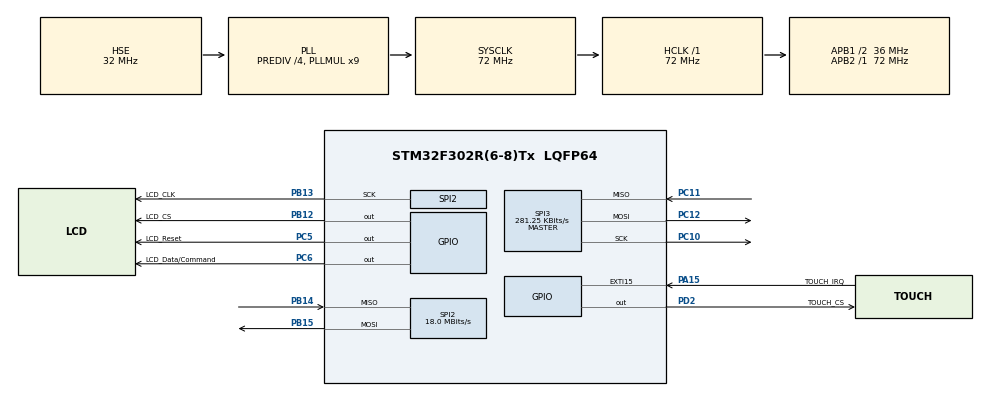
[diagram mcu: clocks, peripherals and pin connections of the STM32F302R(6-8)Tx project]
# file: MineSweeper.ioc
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Dma.Request0=SPI2_TX
Dma.Request1=SPI2_RX
Dma.Request2=SPI3_RX
Dma.Request3=SPI3_TX
Dma.SPI2_RX.1.Direction=DMA_PERIPH_TO_MEMORY
Dma.SPI2_RX.1.Instance=DMA1_Channel4
Dma.SPI2_RX.1.MemDataAlignment=DMA_MDATAALIGN_BYTE
Dma.SPI2_RX.1.MemInc=DMA_MINC_ENABLE
Dma.SPI2_RX.1.Mode=DMA_NORMAL
Dma.SPI2_RX.1.PeriphDataAlignment=DMA_PDATAALIGN_BYTE
Dma.SPI2_RX.1.PeriphInc=DMA_PINC_DISABLE
Dma.SPI2_RX.1.Priority=DMA_PRIORITY_VERY_HIGH
Dma.SPI2_TX.0.Direction=DMA_MEMORY_TO_PERIPH
Dma.SPI2_TX.0.Instance=DMA1_Channel5
Dma.SPI2_TX.0.MemDataAlignment=DMA_MDATAALIGN_BYTE
Dma.SPI2_TX.0.MemInc=DMA_MINC_ENABLE
Dma.SPI2_TX.0.Mode=DMA_CIRCULAR
Dma.SPI2_TX.0.PeriphDataAlignment=DMA_PDATAALIGN_BYTE
Dma.SPI2_TX.0.PeriphInc=DMA_PINC_DISABLE
Dma.SPI2_TX.0.Priority=DMA_PRIORITY_VERY_HIGH
Dma.SPI3_RX.2.Direction=DMA_PERIPH_TO_MEMORY
Dma.SPI3_RX.2.Instance=DMA1_Channel2
Dma.SPI3_RX.2.MemDataAlignment=DMA_MDATAALIGN_BYTE
Dma.SPI3_RX.2.MemInc=DMA_MINC_ENABLE
Dma.SPI3_RX.2.Mode=DMA_NORMAL
Dma.SPI3_RX.2.PeriphDataAlignment=DMA_PDATAALIGN_BYTE
Dma.SPI3_RX.2.PeriphInc=DMA_PINC_DISABLE
Dma.SPI3_RX.2.Priority=DMA_PRIORITY_HIGH
Dma.SPI3_TX.3.Direction=DMA_MEMORY_TO_PERIPH
Dma.SPI3_TX.3.Instance=DMA1_Channel3
Dma.SPI3_TX.3.MemDataAlignment=DMA_MDATAALIGN_BYTE
Dma.SPI3_TX.3.MemInc=DMA_MINC_ENABLE
Dma.SPI3_TX.3.Mode=DMA_NORMAL
Dma.SPI3_TX.3.PeriphDataAlignment=DMA_PDATAALIGN_BYTE
Dma.SPI3_TX.3.PeriphInc=DMA_PINC_DISABLE
Dma.SPI3_TX.3.Priority=DMA_PRIORITY_HIGH
Mcu.Family=STM32F3
Mcu.Name=STM32F302R(6-8)Tx
Mcu.Package=LQFP64
NVIC.DMA1_Channel2_IRQn=true\:0\:0\:false\:false\:true\:false\:true
NVIC.DMA1_Channel3_IRQn=true\:0\:0\:false\:false\:true\:false\:true
NVIC.DMA1_Channel4_IRQn=true\:0\:0\:false\:false\:true\:false\:true
NVIC.DMA1_Channel5_IRQn=true\:0\:0\:false\:false\:true\:false\:true
NVIC.PriorityGroup=NVIC_PRIORITYGROUP_4
NVIC.TIM1_UP_TIM16_IRQn=true\:0\:0\:false\:false\:true\:true\:true
NVIC.TIM6_DAC_IRQn=true\:1\:0\:true\:false\:true\:true\:true
PA13.Mode=Serial_Wire
PA13.Signal=SYS_JTMS-SWDIO
PA14.Mode=Serial_Wire
PA14.Signal=SYS_JTCK-SWCLK
PA15.GPIO_Label=TOUCH_IRQ
PA15.GPIO_ModeDefaultEXTI=GPIO_MODE_IT_FALLING
PA15.GPIO_PuPd=GPIO_PULLUP
PA15.Signal=GPXTI15
PB12.GPIO_Label=LCD_CS
PB12.GPIO_Speed=GPIO_SPEED_FREQ_HIGH
PB12.Signal=GPIO_Output
PB13.GPIO_Label=LCD_CLK
PB13.Mode=Full_Duplex_Master
PB13.Signal=SPI2_SCK
PB14.Mode=Full_Duplex_Master
PB14.Signal=SPI2_MISO
PB15.Mode=Full_Duplex_Master
PB15.Signal=SPI2_MOSI
PC10.GPIO_Speed=GPIO_SPEED_FREQ_HIGH
PC10.Mode=Full_Duplex_Master
PC10.Signal=SPI3_SCK
PC11.GPIO_Speed=GPIO_SPEED_FREQ_HIGH
PC11.Mode=Full_Duplex_Master
PC11.Signal=SPI3_MISO
PC12.GPIO_Speed=GPIO_SPEED_FREQ_HIGH
PC12.Mode=Full_Duplex_Master
PC12.Signal=SPI3_MOSI
PC5.GPIO_Label=LCD_Reset
PC5.GPIO_Speed=GPIO_SPEED_FREQ_HIGH
PC5.Signal=GPIO_Output
PC6.GPIO_Label=LCD_Data/Command
PC6.GPIO_Speed=GPIO_SPEED_FREQ_HIGH
PC6.Signal=GPIO_Output
PD2.GPIO_Label=TOUCH_CS
PD2.GPIO_Speed=GPIO_SPEED_FREQ_HIGH
PD2.PinState=GPIO_PIN_RESET
PD2.Signal=GPIO_Output
PF0-OSC_IN.Mode=HSE-External-Oscillator
PF0-OSC_IN.Signal=RCC_OSC_IN
PF1-OSC_OUT.Mode=HSE-External-Oscillator
PF1-OSC_OUT.Signal=RCC_OSC_OUT
ProjectManager.HeapSize=0x200
ProjectManager.StackSize=0x400
ProjectManager.TargetToolchain=STM32CubeIDE
RCC.AHBFreq_Value=72000000
RCC.APB1CLKDivider=RCC_HCLK_DIV2
RCC.APB1Freq_Value=36000000
RCC.APB1TimFreq_Value=72000000
RCC.APB2Freq_Value=72000000
RCC.APB2TimFreq_Value=72000000
RCC.CortexFreq_Value=72000000
RCC.HCLKFreq_Value=72000000
RCC.HSE_VALUE=32000000
RCC.HSI_VALUE=8000000
RCC.LSE_VALUE=32768
RCC.PLLMUL=RCC_PLL_MUL9
RCC.PLLSourceVirtual=RCC_PLLSOURCE_HSE
RCC.RCC_PLLsource_Clock_Source_FROM_HSE=RCC_HSE_PREDIV_DIV4
RCC.SYSCLKFreq_VALUE=72000000
RCC.SYSCLKSourceVirtual=RCC_SYSCLKSOURCE_PLLCLK
RCC.USBFreq_Value=72000000
SPI2.BaudRatePrescaler=SPI_BAUDRATEPRESCALER_2
SPI2.CalculateBaudRate=18.0 MBits/s
SPI2.DataSize=SPI_DATASIZE_8BIT
SPI2.Direction=SPI_DIRECTION_2LINES
SPI2.Mode=SPI_MODE_MASTER
SPI2.NSSPMode=SPI_NSS_PULSE_DISABLE
SPI2.VirtualType=VM_MASTER
SPI3.BaudRatePrescaler=SPI_BAUDRATEPRESCALER_128
SPI3.CLKPolarity=SPI_POLARITY_LOW
SPI3.CalculateBaudRate=281.25 KBits/s
SPI3.DataSize=SPI_DATASIZE_8BIT
SPI3.Direction=SPI_DIRECTION_2LINES
SPI3.FirstBit=SPI_FIRSTBIT_MSB
SPI3.Mode=SPI_MODE_MASTER
SPI3.NSSPMode=SPI_NSS_PULSE_DISABLE
SPI3.VirtualType=VM_MASTER
TIM16.Period=35000
TIM16.Prescaler=500
TIM6.AutoReloadPreload=TIM_AUTORELOAD_PRELOAD_ENABLE
TIM6.Period=50
TIM6.Prescaler=7200
TIM6.TIM_MasterOutputTrigger=TIM_TRGO_UPDATE
VP_TIM16_VS_ClockSourceINT.Mode=Enable_Timer
VP_TIM6_VS_ClockSourceINT.Mode=Enable_Timer
board=custom

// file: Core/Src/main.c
/* USER CODE BEGIN Header */
/**
  ******************************************************************************
  * @file           : main.c
  * @brief          : Main program body
  ******************************************************************************
  * @attention
  *
  * <h2><center>&copy; Copyright (c) 2021 STMicroelectronics.
  * All rights reserved.</center></h2>
  *
  * This software component is licensed by ST under BSD 3-Clause license,
  * the "License"; You may not use this file except in compliance with the
  * License. You may obtain a copy of the License at:
  *                        opensource.org/licenses/BSD-3-Clause
  *
  ******************************************************************************
  */
/* USER CODE END Header */
#include "main.h"

/* USER CODE BEGIN Includes */
#include "XPT2046.h"
#include "gameUI.h"
/* USER CODE END Includes */

SPI_HandleTypeDef hspi2;
SPI_HandleTypeDef hspi3;
DMA_HandleTypeDef hdma_spi2_tx;
DMA_HandleTypeDef hdma_spi2_rx;
DMA_HandleTypeDef hdma_spi3_rx;
DMA_HandleTypeDef hdma_spi3_tx;

TIM_HandleTypeDef htim6;
TIM_HandleTypeDef htim16;

/* USER CODE BEGIN PV */
uint16_t timer=0;
/* USER CODE END PV */

void SystemClock_Config(void);
static void MX_GPIO_Init(void);
static void MX_DMA_Init(void);
static void MX_SPI2_Init(void);
static void MX_SPI3_Init(void);
static void MX_TIM6_Init(void);
static void MX_TIM16_Init(void);

int main(void)
{

  /* MCU Configuration--------------------------------------------------------*/

  /* Reset of all peripherals, Initializes the Flash interface and the Systick. */
  HAL_Init();

  /* Configure the system clock */
  SystemClock_Config();

  /* Initialize all configured peripherals */
  MX_GPIO_Init();
  MX_DMA_Init();
  MX_SPI2_Init();
  MX_SPI3_Init();
  MX_TIM6_Init();
  MX_TIM16_Init();
  /* USER CODE BEGIN 2 */

	 LCD9341_setup(&hspi2, LCD_Reset_GPIO_Port, LCD_Reset_Pin, LCD_CS_GPIO_Port, LCD_CS_Pin, LCD_Data_Command_GPIO_Port, LCD_Data_Command_Pin, LCD_CLK_GPIO_Port, LCD_CLK_Pin);
	 XPT2046_setup(&hspi3, TOUCH_IRQ_GPIO_Port, TOUCH_IRQ_Pin, TOUCH_CS_GPIO_Port, TOUCH_CS_Pin, &htim6);
	 XPT2046_SetSwapFlip(TS_HORISONTAL);
	 LCD9341_Power_ON();
	 LCD9341_SetMemoryAccessControl(HORISONTAL_HV_FLIP/*VERTICAL*/);
	 LCD9341_SetPixelFormat16bit();

	 XPT2046_Start();

	//
	LCD9341_TextModeCls();
	 //TEST_DrawField();

//--TOUCH-SCREEN-CALIBRATION-START---------------

	 uint16_t resX = 319;
	 uint16_t resY = 239;
	 uint16_t off  = 10;

	 LCD9341_DrawCircle16bit(off, off, 2, LCD9341_Make16bitRGBColor(200, 200, 200));
	 XPT2046_CalibrationTouch(off, off);
	 LCD9341_DrawCircle16bit(off, off, 2, LCD9341_Make16bitRGBColor(0, 0, 0));

	 LCD9341_DrawCircle16bit(resX-off, off, 2, LCD9341_Make16bitRGBColor(200, 200, 200));
	 XPT2046_CalibrationTouch(resX-off, off);
	 LCD9341_DrawCircle16bit(resX-off, off, 2, LCD9341_Make16bitRGBColor(0, 0, 0));

	 LCD9341_DrawCircle16bit(resX-off, resY-off, 2, LCD9341_Make16bitRGBColor(200, 200, 200));
	 XPT2046_CalibrationTouch(resX-off, resY-off);
	 LCD9341_DrawCircle16bit(resX-off, resY-off, 2, LCD9341_Make16bitRGBColor(0, 0, 0));

	 LCD9341_DrawCircle16bit(off, resY-off, 2, LCD9341_Make16bitRGBColor(200, 200, 200));
	 XPT2046_CalibrationTouch(off, resY-off);
	 LCD9341_DrawCircle16bit(off, resY-off, 2, LCD9341_Make16bitRGBColor(0, 0, 0));

	 LCD9341_DrawCircle16bit(resX/2, resY/2, 2, LCD9341_Make16bitRGBColor(200, 200, 200));
	 XPT2046_CalibrationTouch(resX/2, resY/2);

//--TOUCH-SCREEN-CALIBRATION-END-----------------

	 SplashScreen();
	 XPT2046_WaitForUpEvent();
	 LCD9341_TextModeCls();
	 UIStart();
	 HAL_TIM_Base_Start_IT(&htim16);

  /* USER CODE END 2 */

  /* Infinite loop */
  /* USER CODE BEGIN WHILE */
	 uint16_t x,y;
	 TouchEventType event;

  while (1)
  {
	  if(XPT2046_GetEvent(&x,&y,&event) && event == UP){
		  UIClick(x,y);

	  }
	  UpdateTimer();

    /* USER CODE END WHILE */

  }
}

void SystemClock_Config(void)
{
  RCC_OscInitTypeDef RCC_OscInitStruct = {0};
  RCC_ClkInitTypeDef RCC_ClkInitStruct = {0};
  RCC_PeriphCLKInitTypeDef PeriphClkInit = {0};

  /** Initializes the RCC Oscillators according to the specified parameters
  * in the RCC_OscInitTypeDef structure.
  */
  RCC_OscInitStruct.OscillatorType = RCC_OSCILLATORTYPE_HSE;
  RCC_OscInitStruct.HSEState = RCC_HSE_ON;
  RCC_OscInitStruct.HSEPredivValue = RCC_HSE_PREDIV_DIV4;
  RCC_OscInitStruct.HSIState = RCC_HSI_ON;
  RCC_OscInitStruct.PLL.PLLState = RCC_PLL_ON;
  RCC_OscInitStruct.PLL.PLLSource = RCC_PLLSOURCE_HSE;
  RCC_OscInitStruct.PLL.PLLMUL = RCC_PLL_MUL9;
  if (HAL_RCC_OscConfig(&RCC_OscInitStruct) != HAL_OK)
  {
    Error_Handler();
  }
  /** Initializes the CPU, AHB and APB buses clocks
  */
  RCC_ClkInitStruct.ClockType = RCC_CLOCKTYPE_HCLK|RCC_CLOCKTYPE_SYSCLK
                              |RCC_CLOCKTYPE_PCLK1|RCC_CLOCKTYPE_PCLK2;
  RCC_ClkInitStruct.SYSCLKSource = RCC_SYSCLKSOURCE_PLLCLK;
  RCC_ClkInitStruct.AHBCLKDivider = RCC_SYSCLK_DIV1;
  RCC_ClkInitStruct.APB1CLKDivider = RCC_HCLK_DIV2;
  RCC_ClkInitStruct.APB2CLKDivider = RCC_HCLK_DIV1;

  if (HAL_RCC_ClockConfig(&RCC_ClkInitStruct, FLASH_LATENCY_2) != HAL_OK)
  {
    Error_Handler();
  }
  PeriphClkInit.PeriphClockSelection = RCC_PERIPHCLK_TIM16;
  PeriphClkInit.Tim16ClockSelection = RCC_TIM16CLK_HCLK;
  if (HAL_RCCEx_PeriphCLKConfig(&PeriphClkInit) != HAL_OK)
  {
    Error_Handler();
  }
}

static void MX_SPI2_Init(void)
{

  /* SPI2 parameter configuration*/
  hspi2.Instance = SPI2;
  hspi2.Init.Mode = SPI_MODE_MASTER;
  hspi2.Init.Direction = SPI_DIRECTION_2LINES;
  hspi2.Init.DataSize = SPI_DATASIZE_8BIT;
  hspi2.Init.CLKPolarity = SPI_POLARITY_LOW;
  hspi2.Init.CLKPhase = SPI_PHASE_1EDGE;
  hspi2.Init.NSS = SPI_NSS_SOFT;
  hspi2.Init.BaudRatePrescaler = SPI_BAUDRATEPRESCALER_2;
  hspi2.Init.FirstBit = SPI_FIRSTBIT_MSB;
  hspi2.Init.TIMode = SPI_TIMODE_DISABLE;
  hspi2.Init.CRCCalculation = SPI_CRCCALCULATION_DISABLE;
  hspi2.Init.CRCPolynomial = 7;
  hspi2.Init.CRCLength = SPI_CRC_LENGTH_DATASIZE;
  hspi2.Init.NSSPMode = SPI_NSS_PULSE_DISABLE;
  if (HAL_SPI_Init(&hspi2) != HAL_OK)
  {
    Error_Handler();
  }

}

static void MX_SPI3_Init(void)
{

  /* SPI3 parameter configuration*/
  hspi3.Instance = SPI3;
  hspi3.Init.Mode = SPI_MODE_MASTER;
  hspi3.Init.Direction = SPI_DIRECTION_2LINES;
  hspi3.Init.DataSize = SPI_DATASIZE_8BIT;
  hspi3.Init.CLKPolarity = SPI_POLARITY_LOW;
  hspi3.Init.CLKPhase = SPI_PHASE_1EDGE;
  hspi3.Init.NSS = SPI_NSS_SOFT;
  hspi3.Init.BaudRatePrescaler = SPI_BAUDRATEPRESCALER_128;
  hspi3.Init.FirstBit = SPI_FIRSTBIT_MSB;
  hspi3.Init.TIMode = SPI_TIMODE_DISABLE;
  hspi3.Init.CRCCalculation = SPI_CRCCALCULATION_DISABLE;
  hspi3.Init.CRCPolynomial = 7;
  hspi3.Init.CRCLength = SPI_CRC_LENGTH_DATASIZE;
  hspi3.Init.NSSPMode = SPI_NSS_PULSE_DISABLE;
  if (HAL_SPI_Init(&hspi3) != HAL_OK)
  {
    Error_Handler();
  }

}

static void MX_TIM6_Init(void)
{

  TIM_MasterConfigTypeDef sMasterConfig = {0};

  htim6.Instance = TIM6;
  htim6.Init.Prescaler = 7200;
  htim6.Init.CounterMode = TIM_COUNTERMODE_UP;
  htim6.Init.Period = 50;
  htim6.Init.AutoReloadPreload = TIM_AUTORELOAD_PRELOAD_ENABLE;
  if (HAL_TIM_Base_Init(&htim6) != HAL_OK)
  {
    Error_Handler();
  }
  sMasterConfig.MasterOutputTrigger = TIM_TRGO_UPDATE;
  sMasterConfig.MasterSlaveMode = TIM_MASTERSLAVEMODE_DISABLE;
  if (HAL_TIMEx_MasterConfigSynchronization(&htim6, &sMasterConfig) != HAL_OK)
  {
    Error_Handler();
  }

}

static void MX_TIM16_Init(void)
{

  htim16.Instance = TIM16;
  htim16.Init.Prescaler = 500;
  htim16.Init.CounterMode = TIM_COUNTERMODE_UP;
  htim16.Init.Period = 35000;
  htim16.Init.ClockDivision = TIM_CLOCKDIVISION_DIV1;
  htim16.Init.RepetitionCounter = 0;
  htim16.Init.AutoReloadPreload = TIM_AUTORELOAD_PRELOAD_DISABLE;
  if (HAL_TIM_Base_Init(&htim16) != HAL_OK)
  {
    Error_Handler();
  }

}

static void MX_DMA_Init(void)
{

  /* DMA controller clock enable */
  __HAL_RCC_DMA1_CLK_ENABLE();

  /* DMA interrupt init */
  /* DMA1_Channel2_IRQn interrupt configuration */
  HAL_NVIC_SetPriority(DMA1_Channel2_IRQn, 0, 0);
  HAL_NVIC_EnableIRQ(DMA1_Channel2_IRQn);
  /* DMA1_Channel3_IRQn interrupt configuration */
  HAL_NVIC_SetPriority(DMA1_Channel3_IRQn, 0, 0);
  HAL_NVIC_EnableIRQ(DMA1_Channel3_IRQn);
  /* DMA1_Channel4_IRQn interrupt configuration */
  HAL_NVIC_SetPriority(DMA1_Channel4_IRQn, 0, 0);
  HAL_NVIC_EnableIRQ(DMA1_Channel4_IRQn);
  /* DMA1_Channel5_IRQn interrupt configuration */
  HAL_NVIC_SetPriority(DMA1_Channel5_IRQn, 0, 0);
  HAL_NVIC_EnableIRQ(DMA1_Channel5_IRQn);

}

static void MX_GPIO_Init(void)
{
  GPIO_InitTypeDef GPIO_InitStruct = {0};

  /* GPIO Ports Clock Enable */
  __HAL_RCC_GPIOF_CLK_ENABLE();
  __HAL_RCC_GPIOC_CLK_ENABLE();
  __HAL_RCC_GPIOB_CLK_ENABLE();
  __HAL_RCC_GPIOA_CLK_ENABLE();
  __HAL_RCC_GPIOD_CLK_ENABLE();

  /*Configure GPIO pin Output Level */
  HAL_GPIO_WritePin(GPIOC, LCD_Reset_Pin|LCD_Data_Command_Pin, GPIO_PIN_RESET);

  /*Configure GPIO pin Output Level */
  HAL_GPIO_WritePin(LCD_CS_GPIO_Port, LCD_CS_Pin, GPIO_PIN_RESET);

  /*Configure GPIO pin Output Level */
  HAL_GPIO_WritePin(TOUCH_CS_GPIO_Port, TOUCH_CS_Pin, GPIO_PIN_RESET);

  /*Configure GPIO pins : LCD_Reset_Pin LCD_Data_Command_Pin */
  GPIO_InitStruct.Pin = LCD_Reset_Pin|LCD_Data_Command_Pin;
  GPIO_InitStruct.Mode = GPIO_MODE_OUTPUT_PP;
  GPIO_InitStruct.Pull = GPIO_NOPULL;
  GPIO_InitStruct.Speed = GPIO_SPEED_FREQ_HIGH;
  HAL_GPIO_Init(GPIOC, &GPIO_InitStruct);

  /*Configure GPIO pin : LCD_CS_Pin */
  GPIO_InitStruct.Pin = LCD_CS_Pin;
  GPIO_InitStruct.Mode = GPIO_MODE_OUTPUT_PP;
  GPIO_InitStruct.Pull = GPIO_NOPULL;
  GPIO_InitStruct.Speed = GPIO_SPEED_FREQ_HIGH;
  HAL_GPIO_Init(LCD_CS_GPIO_Port, &GPIO_InitStruct);

  /*Configure GPIO pin : TOUCH_IRQ_Pin */
  GPIO_InitStruct.Pin = TOUCH_IRQ_Pin;
  GPIO_InitStruct.Mode = GPIO_MODE_IT_FALLING;
  GPIO_InitStruct.Pull = GPIO_PULLUP;
  HAL_GPIO_Init(TOUCH_IRQ_GPIO_Port, &GPIO_InitStruct);

  /*Configure GPIO pin : TOUCH_CS_Pin */
  GPIO_InitStruct.Pin = TOUCH_CS_Pin;
  GPIO_InitStruct.Mode = GPIO_MODE_OUTPUT_PP;
  GPIO_InitStruct.Pull = GPIO_NOPULL;
  GPIO_InitStruct.Speed = GPIO_SPEED_FREQ_HIGH;
  HAL_GPIO_Init(TOUCH_CS_GPIO_Port, &GPIO_InitStruct);

}

/* USER CODE BEGIN 4 */
void HAL_SPI_RxCpltCallback(SPI_HandleTypeDef *hspi){
	LCD9341_DMAInterrupt(hspi);
}
void HAL_SPI_TxCpltCallback(SPI_HandleTypeDef *hspi){
	LCD9341_DMAInterrupt(hspi);
}

void HAL_SPI_TxRxCpltCallback(SPI_HandleTypeDef *hspi){
	XPT2046_ReadRawData_DMA_Complete(hspi);
}

void HAL_TIM_PeriodElapsedCallback(TIM_HandleTypeDef *htim){
	XPT2046_ReadRawData_DMA(htim);
	if(htim==&htim16){
		NextTimer();
		//timer++;
	}
}

/* USER CODE END 4 */

void Error_Handler(void)
{
  __disable_irq();
  while (1)
  {
  }
}

/************************ (C) COPYRIGHT STMicroelectronics *****END OF FILE****/
